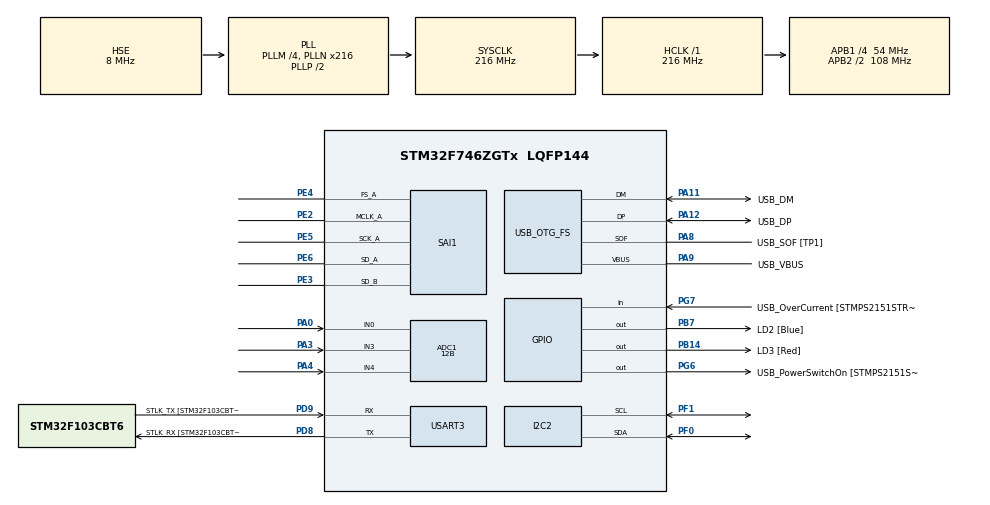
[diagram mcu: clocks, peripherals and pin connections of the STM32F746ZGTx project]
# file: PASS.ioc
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ADC1.Channel-3\#ChannelRegularConversion=ADC_CHANNEL_0
ADC1.Channel-4\#ChannelRegularConversion=ADC_CHANNEL_3
ADC1.Channel-5\#ChannelRegularConversion=ADC_CHANNEL_4
ADC1.ClockPrescaler=ADC_CLOCK_SYNC_PCLK_DIV8
ADC1.ContinuousConvMode=ENABLE
ADC1.DMAContinuousRequests=DISABLE
ADC1.DiscontinuousConvMode=DISABLE
ADC1.EOCSelection=ADC_EOC_SINGLE_CONV
ADC1.NbrOfConversion=3
ADC1.NbrOfConversionFlag=1
ADC1.Rank-3\#ChannelRegularConversion=1
ADC1.Rank-4\#ChannelRegularConversion=2
ADC1.Rank-5\#ChannelRegularConversion=3
ADC1.Resolution=ADC_RESOLUTION_12B
ADC1.SamplingTime-3\#ChannelRegularConversion=ADC_SAMPLETIME_3CYCLES
ADC1.SamplingTime-4\#ChannelRegularConversion=ADC_SAMPLETIME_3CYCLES
ADC1.SamplingTime-5\#ChannelRegularConversion=ADC_SAMPLETIME_3CYCLES
ADC1.master=1
Dma.Request0=SAI1_A
Dma.Request1=SAI1_B
Dma.SAI1_A.0.Direction=DMA_MEMORY_TO_PERIPH
Dma.SAI1_A.0.FIFOMode=DMA_FIFOMODE_DISABLE
Dma.SAI1_A.0.Instance=DMA2_Stream1
Dma.SAI1_A.0.MemDataAlignment=DMA_MDATAALIGN_WORD
Dma.SAI1_A.0.MemInc=DMA_MINC_ENABLE
Dma.SAI1_A.0.Mode=DMA_CIRCULAR
Dma.SAI1_A.0.PeriphDataAlignment=DMA_PDATAALIGN_WORD
Dma.SAI1_A.0.PeriphInc=DMA_PINC_DISABLE
Dma.SAI1_A.0.Priority=DMA_PRIORITY_VERY_HIGH
Dma.SAI1_B.1.Direction=DMA_MEMORY_TO_PERIPH
Dma.SAI1_B.1.FIFOMode=DMA_FIFOMODE_DISABLE
Dma.SAI1_B.1.Instance=DMA2_Stream4
Dma.SAI1_B.1.MemDataAlignment=DMA_MDATAALIGN_WORD
Dma.SAI1_B.1.MemInc=DMA_MINC_ENABLE
Dma.SAI1_B.1.Mode=DMA_CIRCULAR
Dma.SAI1_B.1.PeriphDataAlignment=DMA_PDATAALIGN_WORD
Dma.SAI1_B.1.PeriphInc=DMA_PINC_DISABLE
Dma.SAI1_B.1.Priority=DMA_PRIORITY_LOW
I2C2.Speed=20
I2C2.Timing=0x80102AFF
Mcu.Family=STM32F7
Mcu.Name=STM32F746ZGTx
Mcu.Package=LQFP144
NVIC.DMA2_Stream1_IRQn=true\:0\:0\:false\:false\:true\:false\:true\:true
NVIC.DMA2_Stream4_IRQn=true\:0\:0\:false\:false\:true\:false\:true\:true
NVIC.PriorityGroup=NVIC_PRIORITYGROUP_4
NVIC.USART3_IRQn=true\:0\:0\:false\:false\:true\:true\:true\:true
PA0/WKUP.Signal=ADCx_IN0
PA10.GPIO_Label=USB_ID
PA10.Signal=USB_OTG_FS_ID
PA11.GPIO_Label=USB_DM
PA11.Mode=Device_Only
PA11.Signal=USB_OTG_FS_DM
PA12.GPIO_Label=USB_DP
PA12.Mode=Device_Only
PA12.Signal=USB_OTG_FS_DP
PA13.GPIO_Label=TMS
PA13.Mode=Serial_Wire
PA13.Signal=SYS_JTMS-SWDIO
PA14.GPIO_Label=TCK
PA14.Mode=Serial_Wire
PA14.Signal=SYS_JTCK-SWCLK
PA3.Signal=ADCx_IN3
PA4.Signal=ADCx_IN4
PA8.GPIO_Label=USB_SOF [TP1]
PA8.Mode=Activate_SOF_FS
PA8.Signal=USB_OTG_FS_SOF
PA9.GPIO_Label=USB_VBUS
PA9.Mode=Activate_VBUS
PA9.Signal=USB_OTG_FS_VBUS
PB13.GPIO_Label=RMII_TXD1 [LAN8742A-CZ-TR_TXD1]
PB13.Signal=ETH_TXD1
PB14.GPIO_Label=LD3 [Red]
PB14.GPIO_ModeDefaultOutputPP=GPIO_MODE_OUTPUT_OD
PB14.GPIO_PuPd=GPIO_NOPULL
PB14.Signal=GPIO_Output
PB7.GPIO_Label=LD2 [Blue]
PB7.Signal=GPIO_Output
PC14/OSC32_IN.Mode=LSE-External-Oscillator
PC14/OSC32_IN.Signal=RCC_OSC32_IN
PC15/OSC32_OUT.Mode=LSE-External-Oscillator
PC15/OSC32_OUT.Signal=RCC_OSC32_OUT
PD8.GPIO_Label=STLK_RX [STM32F103CBT6_PA3]
PD8.GPIO_PuPd=GPIO_PULLUP
PD8.Mode=Asynchronous
PD8.Signal=USART3_TX
PD9.GPIO_Label=STLK_TX [STM32F103CBT6_PA2]
PD9.GPIO_PuPd=GPIO_PULLUP
PD9.Mode=Asynchronous
PD9.Signal=USART3_RX
PE2.Mode=SAI_A_MasterWithClock
PE2.Signal=SAI1_MCLK_A
PE3.Mode=SAI_B_SyncSlave
PE3.Signal=SAI1_SD_B
PE4.GPIO_PuPd=GPIO_NOPULL
PE4.GPIO_Speed=GPIO_SPEED_FREQ_VERY_HIGH
PE4.Mode=SAI_A_MasterWithClock
PE4.Signal=SAI1_FS_A
PE5.GPIO_Mode=GPIO_MODE_AF_PP
PE5.GPIO_PuPd=GPIO_NOPULL
PE5.GPIO_Speed=GPIO_SPEED_FREQ_VERY_HIGH
PE5.Mode=SAI_A_MasterWithClock
PE5.Signal=SAI1_SCK_A
PE6.GPIO_PuPd=GPIO_NOPULL
PE6.GPIO_Speed=GPIO_SPEED_FREQ_VERY_HIGH
PE6.Mode=SAI_A_MasterWithClock
PE6.Signal=SAI1_SD_A
PF0.Mode=I2C
PF0.Signal=I2C2_SDA
PF1.Mode=I2C
PF1.Signal=I2C2_SCL
PG6.GPIO_Label=USB_PowerSwitchOn [STMPS2151STR_EN]
PG6.Signal=GPIO_Output
PG7.GPIO_Label=USB_OverCurrent [STMPS2151STR_FAULT]
PG7.Signal=GPIO_Input
PH0/OSC_IN.GPIO_Label=MCO [STM32F103CBT6_PA8]
PH0/OSC_IN.Mode=HSE-External-Clock-Source
PH0/OSC_IN.Signal=RCC_OSC_IN
PH1/OSC_OUT.Mode=HSE-External-Clock-Source
PH1/OSC_OUT.Signal=RCC_OSC_OUT
ProjectManager.HeapSize=0x200
ProjectManager.StackSize=0x400
ProjectManager.TargetToolchain=STM32CubeIDE
RCC.48MHZClocksFreq_Value=24000000
RCC.AHBFreq_Value=216000000
RCC.APB1CLKDivider=RCC_HCLK_DIV4
RCC.APB1Freq_Value=54000000
RCC.APB1TimFreq_Value=108000000
RCC.APB2CLKDivider=RCC_HCLK_DIV2
RCC.APB2Freq_Value=108000000
RCC.APB2TimFreq_Value=216000000
RCC.CortexFreq_Value=216000000
RCC.HCLKFreq_Value=216000000
RCC.HSE_VALUE=8000000
RCC.HSI_VALUE=16000000
RCC.PLLM=4
RCC.PLLMUL=RCC_PLL_MUL9
RCC.PLLN=216
RCC.PLLQ=9
RCC.PLLSAIN=50
RCC.PRESCALERUSB=RCC_USBCLKSOURCE_PLL_DIV1_5
RCC.SYSCLKFreq_VALUE=216000000
RCC.SYSCLKSource=RCC_SYSCLKSOURCE_PLLCLK
RCC.SYSCLKSourceVirtual=RCC_SYSCLKSOURCE_PLLCLK
RCC.USBFreq_Value=48000000
RCC.VCOOutputFreq_Value=432000000
SAI1.AudioFrequency-SAI_A_MasterWithClock=SAI_AUDIO_FREQUENCY_MCKDIV
SAI1.AudioMode-SAI_B_SyncSlave=SAI_MODESLAVE_TX
SAI1.ClockStrobing-SAI_A_MasterWithClock=SAI_CLOCKSTROBING_RISINGEDGE
SAI1.ClockStrobing-SAI_B_SyncSlave=SAI_CLOCKSTROBING_RISINGEDGE
SAI1.DataSize-SAI_A_MasterWithClock=SAI_DATASIZE_16
SAI1.DataSize-SAI_B_SyncSlave=SAI_DATASIZE_16
SAI1.ErrorAudioFreq-SAI_A_MasterWithClock=1.72 %
SAI1.FSOffset-SAI_A_MasterWithClock=SAI_FS_BEFOREFIRSTBIT
SAI1.FSPolarity-SAI_A_MasterWithClock=SAI_FS_ACTIVE_HIGH
SAI1.FrameLength-SAI_A_MasterWithClock=256
SAI1.FrameLength-SAI_B_SyncSlave=256
SAI1.Instance-SAI_A_MasterWithClock=SAI$Index_Block_A
SAI1.Instance-SAI_B_SyncSlave=SAI$Index_Block_B
SAI1.MClockEnable-SAI_A_MasterWithClock=SAI_MASTERCLOCK_ENABLE
SAI1.Mckdiv-SAI_A_MasterWithClock=2
SAI1.RealAudioFreq-SAI_A_MasterWithClock=48.828 KHz
SAI1.SlotActive-SAI_A_MasterWithClock=0x0000FFFF
SAI1.SlotActive-SAI_B_SyncSlave=0x0000FFFF
SAI1.SlotNumber-SAI_A_MasterWithClock=16
SAI1.SlotNumber-SAI_B_SyncSlave=16
SAI1.VirtualMode-SAI_A_MasterWithClock=VM_MASTER
SAI1.VirtualMode-SAI_B_SyncSlave=VM_SLAVE
SAI1.VirtualSlotActive-SAI_A_MasterWithClock=SAI_SLOTACTIVE_ALL
SAI1.VirtualSlotActive-SAI_B_SyncSlave=SAI_SLOTACTIVE_ALL
SH.ADCx_IN0.0=ADC1_IN0,IN0
SH.ADCx_IN3.0=ADC1_IN3,IN3
SH.ADCx_IN4.0=ADC1_IN4,IN4
STMicroelectronics.X-CUBE-ALGOBUILD.1.3.0.LibraryCcDSPOoLibraryJjDSPOoLibrary=true
USART3.VirtualMode-Asynchronous=VM_ASYNC
USB_OTG_FS.VirtualMode=Device_Only
VP_STMicroelectronics.X-CUBE-ALGOBUILD_VS_DSPOoLibraryJjLibrary_1.3.0_1.3.0.Mode=DSPOoLibraryJjLibrary
board=NUCLEO-F746ZG

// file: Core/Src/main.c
/* USER CODE BEGIN Header */
/**
  ******************************************************************************
  * @file           : main.c
  * @brief          : Main program body
  ******************************************************************************
  * @attention
  *
  * Copyright (c) 2024 STMicroelectronics.
  * All rights reserved.
  *
  * This software is licensed under terms that can be found in the LICENSE file
  * in the root directory of this software component.
  * If no LICENSE file comes with this software, it is provided AS-IS.
  *
  ******************************************************************************
  */
/* USER CODE END Header */
#include "main.h"

/* USER CODE BEGIN Includes */
#include "math.h"
#include "arm_math.h"
#include <stdio.h>
#include <string.h>
#include <stdlib.h>
//#include "stm32f7xx_ll_usart.h"
//#include "stm32f7xx_hal.h"
#include "stm32f7xx_hal_uart.h"
/* USER CODE END Includes */

ADC_HandleTypeDef hadc1;

I2C_HandleTypeDef hi2c2;

SAI_HandleTypeDef hsai_BlockA1;
SAI_HandleTypeDef hsai_BlockB1;
DMA_HandleTypeDef hdma_sai1_a;
DMA_HandleTypeDef hdma_sai1_b;

UART_HandleTypeDef huart3;

PCD_HandleTypeDef hpcd_USB_OTG_FS;

void SystemClock_Config(void);
void PeriphCommonClock_Config(void);
static void MX_GPIO_Init(void);
static void MX_DMA_Init(void);
static void MX_USB_OTG_FS_PCD_Init(void);
static void MX_I2C2_Init(void);
static void MX_USART3_UART_Init(void);
static void MX_SAI1_Init(void);
static void MX_ADC1_Init(void);

/* USER CODE BEGIN 0 */

uint32_t fftSize = 1024;
uint32_t ifftFlag = 0;
uint32_t doBitReverse = 1;
arm_rfft_instance_q15 fft_instance;
arm_rfft_instance_q15 ifft_instance;
q15_t fft_in_buf[300];
q15_t fft_out_buf[300*2];
q15_t fft_out_buf_mag[300*2];
q15_t ifft_out_buf[300];
float audio_buf_high_f[300];

// UART SERIAL COMMUNICATION
UART_HandleTypeDef huart3;
//volatile uint8_t receivedData;
volatile char receivedData;
// uint64_t counter = 0;
#define MAX_COMMAND_LENGTH 100
char commandBuffer[MAX_COMMAND_LENGTH];
int commandLength = 0;
int USB_input_X = 0;
int USB_input_Y = 0;
int USB_input_Dist = 0;
int USB_input_Vol = 0;
// TEST
uint8_t uart3_rx_byte;

// Function prototypes
static void MX_USART3_UART_Init(void);
void HAL_UART_RxCpltCallback(UART_HandleTypeDef *huart);

/* Reference index at which max energy of bin ocuurs */
uint32_t refIndex = 213, testIndex = 0;
/* --------------------------------------
 *
 *
 */
#define AUDIO_LOW_BUF_SIZE 180
#define AUDIO_HIGH_BUF_SIZE 300
#define AUDIO_LOW_BUF_SIZE_HALF 90
#define AUDIO_HIGH_BUF_SIZE_HALF 150
#define MAX(x, y) (((x) > (y)) ? (x) : (y))
#define MIN(x, y) (((x) < (y)) ? (x) : (y))
uint16_t adc_get[2];
uint32_t sai_fifo_a[16];
uint32_t sai_fifo_b[16];
uint16_t audio_buf_low[AUDIO_LOW_BUF_SIZE];
uint16_t audio_buf_high[AUDIO_HIGH_BUF_SIZE];
uint8_t delay_denom = 8;

static inline int16_t interpolate(uint16_t x, uint8_t delay_n, uint16_t* array, int dir, uint16_t size) {
	return ((array[x % size] * (delay_denom - delay_n)+ array[(x + dir + size) % size] * delay_n) >> 3) - 32768;
}

uint16_t read_ADC_Channel(ADC_HandleTypeDef* hadc, int channel) {
	ADC_ChannelConfTypeDef chConfig = { 0 };
	chConfig.Channel = channel;
	chConfig.Rank = 1;
	chConfig.SamplingTime = ADC_SAMPLETIME_3CYCLES;
	HAL_ADC_ConfigChannel(hadc, &chConfig);
	HAL_ADC_Start(hadc);
	int status = HAL_ADC_PollForConversion(hadc, HAL_MAX_DELAY);
		  if (status != HAL_OK) {
			Error_Handler();
		  }
	uint16_t val = HAL_ADC_GetValue(hadc);
//	HAL_ADC_Stop(hadc);

	return val;
}

void HAL_SAI_TxCpltCallback(SAI_HandleTypeDef *hsai) {

	static int circ_offset_low = 0;
	static int circ_offset_high = 0;
	static int delay_nom = 0;
	// static int counter = 0;

//	if (counter % 300 == 0) {
//
//
//	for(int i = 0; i < 300; i ++)
//			audio_buf_high_f[i] = audio_buf_high[i];
//	arm_float_to_q15(audio_buf_high_f, fft_in_buf, AUDIO_HIGH_BUF_SIZE);
//
//	arm_rfft_init_q15(&fft_instance, 300, 0, 1);
//	arm_rfft_q15(&fft_instance, fft_in_buf, fft_out_buf);
//
//	arm_cmplx_mag_q15(fft_out_buf + 2, fft_out_buf_mag + 1, 300/2-1);
//
//	arm_rfft_init_q15(&ifft_instance, 300, 1, 1);
//	arm_rfft_q15(&ifft_instance, fft_out_buf, ifft_out_buf);
//	arm_shift_q15(ifft_out_buf, 7, ifft_out_buf, 300);
//	arm_q15_to_float(ifft_out_buf, audio_buf_high_f, 300);
//
//	for(int i = 0; i < 300; i ++)
//		audio_buf_high[i] = audio_buf_high_f[i];
//	}
//
//	counter ++;

	if(hsai == &hsai_BlockB1) return;

	__disable_irq();
	adc_get[0] = read_ADC_Channel(&hadc1, 0);
	adc_get[1] = read_ADC_Channel(&hadc1, 3);
	delay_nom = (read_ADC_Channel(&hadc1, 4) - 2000) * 64 / 2048;

	audio_buf_high[circ_offset_high] = (adc_get[0] << 4);// should be 0
	audio_buf_low[circ_offset_low] = (adc_get[1] << 4);// - (1 << 15);

	circ_offset_high = (circ_offset_high + 1) % AUDIO_HIGH_BUF_SIZE;
	circ_offset_low = (circ_offset_low + 1) % AUDIO_LOW_BUF_SIZE;

	int dir = 1;
	if (delay_nom < 0) dir = -1;
	//Fill the 12 subwoofers
	uint16_t buff_offset = ((AUDIO_LOW_BUF_SIZE >> 1) + AUDIO_LOW_BUF_SIZE + circ_offset_low);
	uint16_t buff_index = buff_offset;
	uint8_t i = 0;
	int int_delay = 4 * delay_nom;
	while (i < 12) {
		buff_index = (int_delay / delay_denom + buff_offset + AUDIO_LOW_BUF_SIZE) % AUDIO_LOW_BUF_SIZE;
		sai_fifo_a[(6 + i) % 12] = interpolate(buff_index,
				(int_delay * dir) % delay_denom,
				audio_buf_low, dir,
				AUDIO_LOW_BUF_SIZE);
		int_delay += delay_nom;
		i ++;
	}
//	Fill the first 4 tweeters into the remaining space in DAC 1
	buff_offset = ((AUDIO_HIGH_BUF_SIZE >> 1) + AUDIO_HIGH_BUF_SIZE + circ_offset_high);
	int_delay = 0;
	while (i < 16) {
		buff_index = (int_delay / delay_denom + buff_offset + AUDIO_HIGH_BUF_SIZE) % AUDIO_HIGH_BUF_SIZE;
		sai_fifo_a[i] = interpolate(buff_index,
				(int_delay * dir) % delay_denom,
				audio_buf_high, dir,
				AUDIO_HIGH_BUF_SIZE);
		int_delay += delay_nom;
		i++;
	}
////////	//Fill the remaining 16 tweeters into DAC 2
	while (i < 32) {
		buff_index = (int_delay / delay_denom + buff_offset + AUDIO_HIGH_BUF_SIZE) % AUDIO_HIGH_BUF_SIZE;
		sai_fifo_b[i - 16] = interpolate(buff_index,
				(int_delay * dir) % delay_denom,
				audio_buf_high, dir,
				AUDIO_HIGH_BUF_SIZE);
		int_delay += delay_nom;
		i++;
	}
	__enable_irq();
////	char msg[100];
////	sprintf(msg, "adc1 is %d; ", adc_get[0]);
////
//	char msg1[100];
//	sprintf(msg1, "adc2 is %d\r\n", delay_nom);
//	HAL_UART_Transmit(&huart3, msg1, strlen((char*)msg1), HAL_MAX_DELAY);
////	HAL_UART_Transmit(&huart3, msg1, strlen((char*)msg1), HAL_MAX_DELAY);

}

#define DAC1_ADDR 0x04
#define DAC2_ADDR 0x24
#define DAC_MUTE1 0x09
#define DAC_MUTE2 0x0A
#define PLL_CLK_CTRL0 0x00
#define DAC_CTRL0 0x06
#define DAC_CTRL1 0x07
#define DAC_CTRL2 0x08

uint8_t mute1_data_DAC1 = 0x00;	//0 is normal operation, 1 is muted
uint8_t mute2_data_DAC1 = 0x00;	//0 is normal operation, 1 is muted
uint8_t mute1_data_DAC2 = 0x00;
uint8_t mute2_data_DAC2 = 0x00;	//0 is normal operation, 1 is muted
uint8_t pll_clk_data = 0b01000001; //assert reset and pllin = 01 to use DLRCLK reference
uint8_t dac_ctrl0 = 0b01100000;
uint8_t dac_ctrl1 = 0b10000100;
uint8_t dac_ctrl2 = 0b10000;

void write_DAC1(uint8_t reg, uint8_t* data) {
	HAL_StatusTypeDef ret = HAL_I2C_Mem_Write(&hi2c2, DAC1_ADDR << 1, reg,
            1, data, 1, HAL_MAX_DELAY);
	char str_fail[100];
	char str_success[100] = "Success on DAC1!\r\n";
	if (ret != HAL_OK) {
		sprintf(str_fail, "Error is %d on DAC1; Register=0x%02X, Data=0x%02x\r\n", HAL_I2C_GetError(&hi2c2), reg, *data);
		HAL_UART_Transmit(&huart3, str_fail, strlen((char*)str_fail), HAL_MAX_DELAY);
	} else {
		HAL_UART_Transmit(&huart3, str_success, strlen((char*)str_success), HAL_MAX_DELAY);
	}
}

void write_DAC2(uint8_t reg, uint8_t* data) {
	HAL_StatusTypeDef ret = HAL_I2C_Mem_Write(&hi2c2, DAC2_ADDR << 1, reg,
            1, data, 1, HAL_MAX_DELAY);
	char str_fail[100];
	char str_success[100] = "Success occured!\r\n";
	if (ret != HAL_OK) {
		sprintf(str_fail, "Error is %d on DAC2; Register=0x%02X, Data=0x%02x\r\n", HAL_I2C_GetError(&hi2c2), reg, *data);
		HAL_UART_Transmit(&huart3, str_fail, strlen((char*)str_fail), HAL_MAX_DELAY);
	} else {
		HAL_UART_Transmit(&huart3, str_success, strlen((char*)str_success), HAL_MAX_DELAY);
	}
}

// UART INTERRUPT SERIAL COM
void HAL_UART_RxCpltCallback(UART_HandleTypeDef *huart)
{
	// ECHO TEST
	//if (huart->Instance == USART3) // Check if the interrupt comes from UART3
	    //{
			//char uit[24] = "TEST 1234 !!!!\r\n";
			//HAL_UART_Transmit(&huart3, uit, strlen((char*)uit), HAL_MAX_DELAY);
	        // Echo the received byte back
	        //HAL_UART_Transmit(&huart3, (uint8_t *)&uart3_rx_byte, 1, 10);

	        // Re-enable the UART receive interrupt
	        //HAL_UART_Receive_IT(&huart3, (uint8_t *)&uart3_rx_byte, 1);
	    //}

    if (huart->Instance == USART3)  // Check which UART generated the interrupt (3)
    {
        // Append the received character to the buffer, if it's not the newline
        // Also check if we haven't exceeded our buffer size (100 for now)
        if (receivedData != '\n' && commandLength < MAX_COMMAND_LENGTH - 1)
        {
            commandBuffer[commandLength++] = receivedData;
        }
        else if (receivedData == '\n')  // Received a newline character
        {
            // Ensure the string is null-terminated
            commandBuffer[commandLength] = '\0';

            if (commandLength > 0) {  // Check if there's something to process

            	// Test print
                char response[MAX_COMMAND_LENGTH + 20];  // Allocate enough space for response message
                sprintf(response, "Received command: %s\n", commandBuffer);
                HAL_UART_Transmit(&huart3, (uint8_t*)response, strlen(response), HAL_MAX_DELAY);

                // // // PROCESS COMMAND HERE // // //

                if (commandBuffer[0] == 'T' && commandLength == 1){
                    HAL_GPIO_TogglePin(GPIOB, GPIO_PIN_7);
                }

                else if (strncmp(commandBuffer, "setX ", 5) == 0) {
                    // USB_input_X
                    USB_input_X = atoi(&commandBuffer[5]);
                    // I tested this, and it seems to be working:
                    //char debugInput[20];
                    //sprintf(debugInput, "X set to: %d\n", USB_input_X);
                    //HAL_UART_Transmit(&huart3, (uint8_t*)debugInput, strlen(debugInput), HAL_MAX_DELAY);
                } else if (strncmp(commandBuffer, "setY ", 5) == 0) {
                    // USB_input_Y
                    USB_input_Y = atoi(&commandBuffer[5]);
                } else if (strncmp(commandBuffer, "setDistance ", 12) == 0) {
                    // USB_input_Dist
                    USB_input_Dist = atoi(&commandBuffer[12]);
                } else if (strncmp(commandBuffer, "setVolume ", 10) == 0) {
                    // USB_input_Vol
                    // USB_input_Vol = atoi(&commandBuffer[10]);
                }

            }

            // Reset the buffer and counter for the next command
            memset(commandBuffer, 0, MAX_COMMAND_LENGTH);
            commandLength = 0;
        }

        // Prepare to receive the next character regardless
        HAL_UART_Receive_IT(&huart3, (uint8_t*)&receivedData, 1);
    }
}

/* USER CODE END 0 */

int main(void)
{

  /* MCU Configuration--------------------------------------------------------*/

  /* Reset of all peripherals, Initializes the Flash interface and the Systick. */
  HAL_Init();

  /* Configure the system clock */
  SystemClock_Config();

/* Configure the peripherals common clocks */
  PeriphCommonClock_Config();

  /* Initialize all configured peripherals */
  MX_GPIO_Init();
  MX_DMA_Init();
  MX_USB_OTG_FS_PCD_Init();
  MX_I2C2_Init();
  MX_USART3_UART_Init();
  MX_SAI1_Init();
  MX_ADC1_Init();
  /* USER CODE BEGIN 2 */
  HAL_UART_Receive_IT(&huart3, (uint8_t *)&uart3_rx_byte, 1);
  /* USER CODE END 2 */

  /* Infinite loop */
  /* USER CODE BEGIN WHILE */

  __disable_irq();
//  HAL_ADC_Start_DMA(&hadc1, &adc_get, 2);
  sai_fifo_a[0] = 0x7000U;
  sai_fifo_b[0] = 0x7000U;
  int error;
  error = HAL_SAI_Transmit_DMA(&hsai_BlockA1, (uint32_t * )&sai_fifo_a, 16);
  char error_msg[50];
  sprintf(error_msg, "Error is %d on DMA1\r\n", error);
  HAL_UART_Transmit(&huart3, error_msg, strlen((char*)error_msg), HAL_MAX_DELAY);

  error = HAL_SAI_Transmit_DMA(&hsai_BlockB1, (uint32_t * )&sai_fifo_b, 16);
  sprintf(error_msg, "Error is %d on DMA2\r\n", error);
  HAL_UART_Transmit(&huart3, error_msg, strlen((char*)error_msg), HAL_MAX_DELAY);

  //HAL_Delay(1000);

  sprintf(error_msg, "UART good!\r\n");

  HAL_UART_Transmit(&huart3, error_msg, strlen((char*)error_msg), HAL_MAX_DELAY);

  write_DAC1(PLL_CLK_CTRL0, &pll_clk_data);
  write_DAC1(DAC_MUTE1, &mute1_data_DAC1);
  write_DAC1(DAC_MUTE2, &mute2_data_DAC1);
  write_DAC1(DAC_CTRL0, &dac_ctrl0);
  write_DAC1(DAC_CTRL1, &dac_ctrl1);
  write_DAC1(DAC_CTRL2, &dac_ctrl2);

  write_DAC2(PLL_CLK_CTRL0, &pll_clk_data);
  write_DAC2(DAC_MUTE1, &mute1_data_DAC2);
  write_DAC2(DAC_MUTE2, &mute2_data_DAC2);
  write_DAC2(DAC_CTRL0, &dac_ctrl0);
  write_DAC2(DAC_CTRL1, &dac_ctrl1);
  write_DAC2(DAC_CTRL2, &dac_ctrl2);

  __enable_irq();

  // Start reception with interrupt
  HAL_UART_Receive_IT(&huart3, &receivedData, 1);
  while (1)
  {

    /* USER CODE END WHILE */

  }
}

void SystemClock_Config(void)
{
  RCC_OscInitTypeDef RCC_OscInitStruct = {0};
  RCC_ClkInitTypeDef RCC_ClkInitStruct = {0};

  /** Configure LSE Drive Capability
  */
  HAL_PWR_EnableBkUpAccess();

  /** Configure the main internal regulator output voltage
  */
  __HAL_RCC_PWR_CLK_ENABLE();
  __HAL_PWR_VOLTAGESCALING_CONFIG(PWR_REGULATOR_VOLTAGE_SCALE1);

  /** Initializes the RCC Oscillators according to the specified parameters
  * in the RCC_OscInitTypeDef structure.
  */
  RCC_OscInitStruct.OscillatorType = RCC_OSCILLATORTYPE_HSE;
  RCC_OscInitStruct.HSEState = RCC_HSE_BYPASS;
  RCC_OscInitStruct.PLL.PLLState = RCC_PLL_ON;
  RCC_OscInitStruct.PLL.PLLSource = RCC_PLLSOURCE_HSE;
  RCC_OscInitStruct.PLL.PLLM = 4;
  RCC_OscInitStruct.PLL.PLLN = 216;
  RCC_OscInitStruct.PLL.PLLP = RCC_PLLP_DIV2;
  RCC_OscInitStruct.PLL.PLLQ = 9;
  if (HAL_RCC_OscConfig(&RCC_OscInitStruct) != HAL_OK)
  {
    Error_Handler();
  }

  /** Activate the Over-Drive mode
  */
  if (HAL_PWREx_EnableOverDrive() != HAL_OK)
  {
    Error_Handler();
  }

  /** Initializes the CPU, AHB and APB buses clocks
  */
  RCC_ClkInitStruct.ClockType = RCC_CLOCKTYPE_HCLK|RCC_CLOCKTYPE_SYSCLK
                              |RCC_CLOCKTYPE_PCLK1|RCC_CLOCKTYPE_PCLK2;
  RCC_ClkInitStruct.SYSCLKSource = RCC_SYSCLKSOURCE_PLLCLK;
  RCC_ClkInitStruct.AHBCLKDivider = RCC_SYSCLK_DIV1;
  RCC_ClkInitStruct.APB1CLKDivider = RCC_HCLK_DIV4;
  RCC_ClkInitStruct.APB2CLKDivider = RCC_HCLK_DIV2;

  if (HAL_RCC_ClockConfig(&RCC_ClkInitStruct, FLASH_LATENCY_7) != HAL_OK)
  {
    Error_Handler();
  }
}

void PeriphCommonClock_Config(void)
{
  RCC_PeriphCLKInitTypeDef PeriphClkInitStruct = {0};

  /** Initializes the peripherals clock
  */
  PeriphClkInitStruct.PeriphClockSelection = RCC_PERIPHCLK_SAI1|RCC_PERIPHCLK_CLK48;
  PeriphClkInitStruct.PLLSAI.PLLSAIN = 50;
  PeriphClkInitStruct.PLLSAI.PLLSAIR = 2;
  PeriphClkInitStruct.PLLSAI.PLLSAIQ = 2;
  PeriphClkInitStruct.PLLSAI.PLLSAIP = RCC_PLLSAIP_DIV2;
  PeriphClkInitStruct.PLLSAIDivQ = 1;
  PeriphClkInitStruct.PLLSAIDivR = RCC_PLLSAIDIVR_2;
  PeriphClkInitStruct.Sai1ClockSelection = RCC_SAI1CLKSOURCE_PLLSAI;
  if (HAL_RCCEx_PeriphCLKConfig(&PeriphClkInitStruct) != HAL_OK)
  {
    Error_Handler();
  }
}

static void MX_ADC1_Init(void)
{

  ADC_ChannelConfTypeDef sConfig = {0};

  /** Configure the global features of the ADC (Clock, Resolution, Data Alignment and number of conversion)
  */
  hadc1.Instance = ADC1;
  hadc1.Init.ClockPrescaler = ADC_CLOCK_SYNC_PCLK_DIV8;
  hadc1.Init.Resolution = ADC_RESOLUTION_12B;
  hadc1.Init.ScanConvMode = ADC_SCAN_ENABLE;
  hadc1.Init.ContinuousConvMode = ENABLE;
  hadc1.Init.DiscontinuousConvMode = DISABLE;
  hadc1.Init.ExternalTrigConvEdge = ADC_EXTERNALTRIGCONVEDGE_NONE;
  hadc1.Init.ExternalTrigConv = ADC_SOFTWARE_START;
  hadc1.Init.DataAlign = ADC_DATAALIGN_RIGHT;
  hadc1.Init.NbrOfConversion = 3;
  hadc1.Init.DMAContinuousRequests = DISABLE;
  hadc1.Init.EOCSelection = ADC_EOC_SINGLE_CONV;
  if (HAL_ADC_Init(&hadc1) != HAL_OK)
  {
    Error_Handler();
  }

  /** Configure for the selected ADC regular channel its corresponding rank in the sequencer and its sample time.
  */
  sConfig.Channel = ADC_CHANNEL_0;
  sConfig.Rank = ADC_REGULAR_RANK_1;
  sConfig.SamplingTime = ADC_SAMPLETIME_3CYCLES;
  if (HAL_ADC_ConfigChannel(&hadc1, &sConfig) != HAL_OK)
  {
    Error_Handler();
  }

  /** Configure for the selected ADC regular channel its corresponding rank in the sequencer and its sample time.
  */
  sConfig.Channel = ADC_CHANNEL_3;
  sConfig.Rank = ADC_REGULAR_RANK_2;
  if (HAL_ADC_ConfigChannel(&hadc1, &sConfig) != HAL_OK)
  {
    Error_Handler();
  }

  /** Configure for the selected ADC regular channel its corresponding rank in the sequencer and its sample time.
  */
  sConfig.Channel = ADC_CHANNEL_4;
  sConfig.Rank = ADC_REGULAR_RANK_3;
  if (HAL_ADC_ConfigChannel(&hadc1, &sConfig) != HAL_OK)
  {
    Error_Handler();
  }

}

static void MX_I2C2_Init(void)
{

  hi2c2.Instance = I2C2;
  hi2c2.Init.Timing = 0x80102AFF;
  hi2c2.Init.OwnAddress1 = 0;
  hi2c2.Init.AddressingMode = I2C_ADDRESSINGMODE_7BIT;
  hi2c2.Init.DualAddressMode = I2C_DUALADDRESS_DISABLE;
  hi2c2.Init.OwnAddress2 = 0;
  hi2c2.Init.OwnAddress2Masks = I2C_OA2_NOMASK;
  hi2c2.Init.GeneralCallMode = I2C_GENERALCALL_DISABLE;
  hi2c2.Init.NoStretchMode = I2C_NOSTRETCH_DISABLE;
  if (HAL_I2C_Init(&hi2c2) != HAL_OK)
  {
    Error_Handler();
  }

  /** Configure Analogue filter
  */
  if (HAL_I2CEx_ConfigAnalogFilter(&hi2c2, I2C_ANALOGFILTER_ENABLE) != HAL_OK)
  {
    Error_Handler();
  }

  /** Configure Digital filter
  */
  if (HAL_I2CEx_ConfigDigitalFilter(&hi2c2, 0) != HAL_OK)
  {
    Error_Handler();
  }

}

static void MX_SAI1_Init(void)
{

  hsai_BlockA1.Instance = SAI1_Block_A;
  hsai_BlockA1.Init.Protocol = SAI_FREE_PROTOCOL;
  hsai_BlockA1.Init.AudioMode = SAI_MODEMASTER_TX;
  hsai_BlockA1.Init.DataSize = SAI_DATASIZE_16;
  hsai_BlockA1.Init.FirstBit = SAI_FIRSTBIT_MSB;
  hsai_BlockA1.Init.ClockStrobing = SAI_CLOCKSTROBING_RISINGEDGE;
  hsai_BlockA1.Init.Synchro = SAI_ASYNCHRONOUS;
  hsai_BlockA1.Init.OutputDrive = SAI_OUTPUTDRIVE_DISABLE;
  hsai_BlockA1.Init.NoDivider = SAI_MASTERDIVIDER_ENABLE;
  hsai_BlockA1.Init.FIFOThreshold = SAI_FIFOTHRESHOLD_EMPTY;
  hsai_BlockA1.Init.AudioFrequency = SAI_AUDIO_FREQUENCY_MCKDIV;
  hsai_BlockA1.Init.Mckdiv = 2;
  hsai_BlockA1.Init.SynchroExt = SAI_SYNCEXT_DISABLE;
  hsai_BlockA1.Init.MonoStereoMode = SAI_STEREOMODE;
  hsai_BlockA1.Init.CompandingMode = SAI_NOCOMPANDING;
  hsai_BlockA1.Init.TriState = SAI_OUTPUT_NOTRELEASED;
  hsai_BlockA1.FrameInit.FrameLength = 256;
  hsai_BlockA1.FrameInit.ActiveFrameLength = 1;
  hsai_BlockA1.FrameInit.FSDefinition = SAI_FS_STARTFRAME;
  hsai_BlockA1.FrameInit.FSPolarity = SAI_FS_ACTIVE_HIGH;
  hsai_BlockA1.FrameInit.FSOffset = SAI_FS_BEFOREFIRSTBIT;
  hsai_BlockA1.SlotInit.FirstBitOffset = 0;
  hsai_BlockA1.SlotInit.SlotSize = SAI_SLOTSIZE_DATASIZE;
  hsai_BlockA1.SlotInit.SlotNumber = 16;
  hsai_BlockA1.SlotInit.SlotActive = 0x0000FFFF;
  if (HAL_SAI_Init(&hsai_BlockA1) != HAL_OK)
  {
    Error_Handler();
  }
  hsai_BlockB1.Instance = SAI1_Block_B;
  hsai_BlockB1.Init.Protocol = SAI_FREE_PROTOCOL;
  hsai_BlockB1.Init.AudioMode = SAI_MODESLAVE_TX;
  hsai_BlockB1.Init.DataSize = SAI_DATASIZE_16;
  hsai_BlockB1.Init.FirstBit = SAI_FIRSTBIT_MSB;
  hsai_BlockB1.Init.ClockStrobing = SAI_CLOCKSTROBING_RISINGEDGE;
  hsai_BlockB1.Init.Synchro = SAI_SYNCHRONOUS;
  hsai_BlockB1.Init.OutputDrive = SAI_OUTPUTDRIVE_DISABLE;
  hsai_BlockB1.Init.FIFOThreshold = SAI_FIFOTHRESHOLD_EMPTY;
  hsai_BlockB1.Init.SynchroExt = SAI_SYNCEXT_DISABLE;
  hsai_BlockB1.Init.MonoStereoMode = SAI_STEREOMODE;
  hsai_BlockB1.Init.CompandingMode = SAI_NOCOMPANDING;
  hsai_BlockB1.Init.TriState = SAI_OUTPUT_NOTRELEASED;
  hsai_BlockB1.FrameInit.FrameLength = 256;
  hsai_BlockB1.FrameInit.ActiveFrameLength = 1;
  hsai_BlockB1.FrameInit.FSDefinition = SAI_FS_STARTFRAME;
  hsai_BlockB1.FrameInit.FSPolarity = SAI_FS_ACTIVE_LOW;
  hsai_BlockB1.FrameInit.FSOffset = SAI_FS_FIRSTBIT;
  hsai_BlockB1.SlotInit.FirstBitOffset = 0;
  hsai_BlockB1.SlotInit.SlotSize = SAI_SLOTSIZE_DATASIZE;
  hsai_BlockB1.SlotInit.SlotNumber = 16;
  hsai_BlockB1.SlotInit.SlotActive = 0x0000FFFF;
  if (HAL_SAI_Init(&hsai_BlockB1) != HAL_OK)
  {
    Error_Handler();
  }

}

static void MX_USART3_UART_Init(void)
{

  huart3.Instance = USART3;
  huart3.Init.BaudRate = 115200;
  huart3.Init.WordLength = UART_WORDLENGTH_8B;
  huart3.Init.StopBits = UART_STOPBITS_1;
  huart3.Init.Parity = UART_PARITY_NONE;
  huart3.Init.Mode = UART_MODE_TX_RX;
  huart3.Init.HwFlowCtl = UART_HWCONTROL_NONE;
  huart3.Init.OverSampling = UART_OVERSAMPLING_16;
  huart3.Init.OneBitSampling = UART_ONE_BIT_SAMPLE_DISABLE;
  huart3.AdvancedInit.AdvFeatureInit = UART_ADVFEATURE_NO_INIT;
  if (HAL_UART_Init(&huart3) != HAL_OK)
  {
    Error_Handler();
  }

}

static void MX_USB_OTG_FS_PCD_Init(void)
{

  hpcd_USB_OTG_FS.Instance = USB_OTG_FS;
  hpcd_USB_OTG_FS.Init.dev_endpoints = 6;
  hpcd_USB_OTG_FS.Init.speed = PCD_SPEED_FULL;
  hpcd_USB_OTG_FS.Init.dma_enable = DISABLE;
  hpcd_USB_OTG_FS.Init.phy_itface = PCD_PHY_EMBEDDED;
  hpcd_USB_OTG_FS.Init.Sof_enable = ENABLE;
  hpcd_USB_OTG_FS.Init.low_power_enable = DISABLE;
  hpcd_USB_OTG_FS.Init.lpm_enable = DISABLE;
  hpcd_USB_OTG_FS.Init.vbus_sensing_enable = ENABLE;
  hpcd_USB_OTG_FS.Init.use_dedicated_ep1 = DISABLE;
  if (HAL_PCD_Init(&hpcd_USB_OTG_FS) != HAL_OK)
  {
    Error_Handler();
  }

}

static void MX_DMA_Init(void)
{

  /* DMA controller clock enable */
  __HAL_RCC_DMA2_CLK_ENABLE();

  /* DMA interrupt init */
  /* DMA2_Stream1_IRQn interrupt configuration */
  HAL_NVIC_SetPriority(DMA2_Stream1_IRQn, 0, 0);
  HAL_NVIC_EnableIRQ(DMA2_Stream1_IRQn);
  /* DMA2_Stream4_IRQn interrupt configuration */
  HAL_NVIC_SetPriority(DMA2_Stream4_IRQn, 0, 0);
  HAL_NVIC_EnableIRQ(DMA2_Stream4_IRQn);

}

static void MX_GPIO_Init(void)
{
  GPIO_InitTypeDef GPIO_InitStruct = {0};

  /* GPIO Ports Clock Enable */
  __HAL_RCC_GPIOE_CLK_ENABLE();
  __HAL_RCC_GPIOC_CLK_ENABLE();
  __HAL_RCC_GPIOF_CLK_ENABLE();
  __HAL_RCC_GPIOH_CLK_ENABLE();
  __HAL_RCC_GPIOA_CLK_ENABLE();
  __HAL_RCC_GPIOB_CLK_ENABLE();
  __HAL_RCC_GPIOD_CLK_ENABLE();
  __HAL_RCC_GPIOG_CLK_ENABLE();

  /*Configure GPIO pin Output Level */
  HAL_GPIO_WritePin(GPIOB, LD3_Pin|LD2_Pin, GPIO_PIN_RESET);

  /*Configure GPIO pin Output Level */
  HAL_GPIO_WritePin(USB_PowerSwitchOn_GPIO_Port, USB_PowerSwitchOn_Pin, GPIO_PIN_RESET);

  /*Configure GPIO pin : RMII_TXD1_Pin */
  GPIO_InitStruct.Pin = RMII_TXD1_Pin;
  GPIO_InitStruct.Mode = GPIO_MODE_AF_PP;
  GPIO_InitStruct.Pull = GPIO_NOPULL;
  GPIO_InitStruct.Speed = GPIO_SPEED_FREQ_VERY_HIGH;
  GPIO_InitStruct.Alternate = GPIO_AF11_ETH;
  HAL_GPIO_Init(RMII_TXD1_GPIO_Port, &GPIO_InitStruct);

  /*Configure GPIO pin : LD3_Pin */
  GPIO_InitStruct.Pin = LD3_Pin;
  GPIO_InitStruct.Mode = GPIO_MODE_OUTPUT_OD;
  GPIO_InitStruct.Pull = GPIO_NOPULL;
  GPIO_InitStruct.Speed = GPIO_SPEED_FREQ_LOW;
  HAL_GPIO_Init(LD3_GPIO_Port, &GPIO_InitStruct);

  /*Configure GPIO pin : USB_PowerSwitchOn_Pin */
  GPIO_InitStruct.Pin = USB_PowerSwitchOn_Pin;
  GPIO_InitStruct.Mode = GPIO_MODE_OUTPUT_PP;
  GPIO_InitStruct.Pull = GPIO_NOPULL;
  GPIO_InitStruct.Speed = GPIO_SPEED_FREQ_LOW;
  HAL_GPIO_Init(USB_PowerSwitchOn_GPIO_Port, &GPIO_InitStruct);

  /*Configure GPIO pin : USB_OverCurrent_Pin */
  GPIO_InitStruct.Pin = USB_OverCurrent_Pin;
  GPIO_InitStruct.Mode = GPIO_MODE_INPUT;
  GPIO_InitStruct.Pull = GPIO_NOPULL;
  HAL_GPIO_Init(USB_OverCurrent_GPIO_Port, &GPIO_InitStruct);

  /*Configure GPIO pin : LD2_Pin */
  GPIO_InitStruct.Pin = LD2_Pin;
  GPIO_InitStruct.Mode = GPIO_MODE_OUTPUT_PP;
  GPIO_InitStruct.Pull = GPIO_NOPULL;
  GPIO_InitStruct.Speed = GPIO_SPEED_FREQ_LOW;
  HAL_GPIO_Init(LD2_GPIO_Port, &GPIO_InitStruct);

}

void Error_Handler(void)
{
  /* USER CODE BEGIN Error_Handler_Debug */
  /* User can add his own implementation to report the HAL error return state */
  __disable_irq();
  char str[100] = "Error handler!\r\n";
  HAL_UART_Transmit(&huart3, str, strlen((char*)str), HAL_MAX_DELAY);

  while (1)
  {
  }
  /* USER CODE END Error_Handler_Debug */
}
